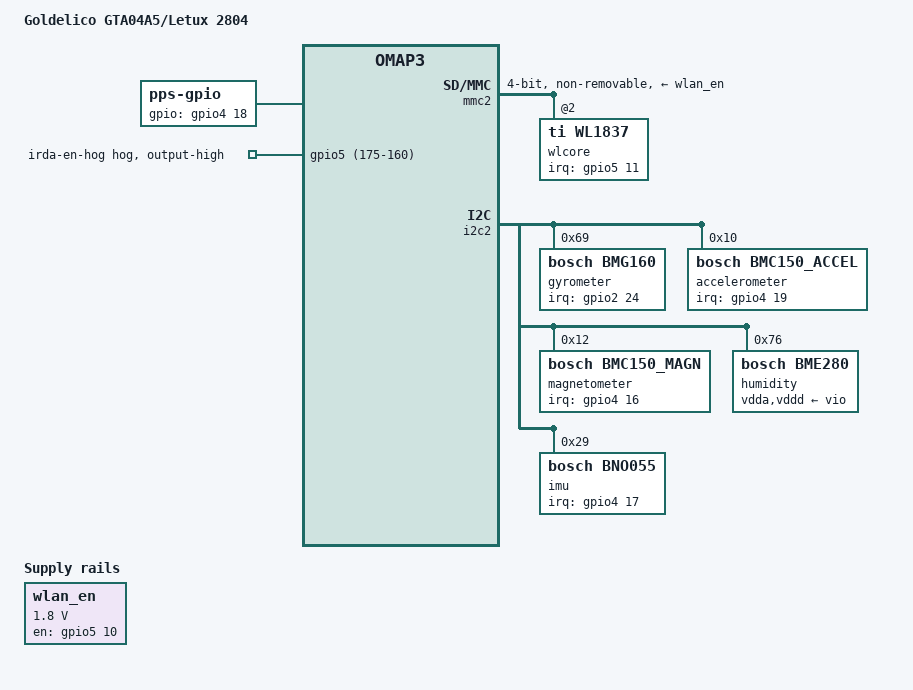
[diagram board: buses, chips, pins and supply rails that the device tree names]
// SPDX-License-Identifier: GPL-2.0-only
/*
 * Copyright (C) 2014-18 H. Nikolaus Schaller <hns@goldelico.com>
 */

#include "omap3-gta04.dtsi"

/ {
	model = "Goldelico GTA04A5/Letux 2804";

	sound {
		ti,jack-det-gpio = <&twl_gpio 2 GPIO_ACTIVE_HIGH>;	/* GTA04A5 only */
	};

	modem_en: modem { /* control modem power through rfkill */
		on-indicator-gpio = <&twl_gpio 6 GPIO_ACTIVE_HIGH>;	/* GTA04A5 only: reset_out feedback from modem */
	};

	wlan_en: wlan_en_regulator {
		compatible = "regulator-fixed";
		pinctrl-names = "default";
		pinctrl-0 = <&wlan_pins>;
		regulator-name = "wlan-en-regulator";
		regulator-min-microvolt = <1800000>;
		regulator-max-microvolt = <1800000>;

		gpio = <&gpio5 10 GPIO_ACTIVE_HIGH>;	/* GPIO_138 */

		startup-delay-us = <70000>;
		enable-active-high;
	};

	pps {
		compatible = "pps-gpio";
		pinctrl-names = "default";
		pinctrl-0 = <&pps_pins>;

		gpios = <&gpio4 18 GPIO_ACTIVE_HIGH>; /* GPIN_114 */
	};

};

&gpio5 {
	irda-en-hog {
		gpio-hog;
		gpios = <(175-160) GPIO_ACTIVE_HIGH>;
		output-high;	/* activate gpio_175 to disable IrDA receiver */
	};
};

#if 0
&twl_power {
	compatible = "ti,twl4030-power-idle-osc-off";
};
#endif

&omap3_pmx_core {
	bt_pins: bt-pins {
		pinctrl-single,pins = <
			OMAP3_CORE1_IOPAD(0x2166, PIN_OUTPUT | MUX_MODE4)	/* mmc2_dat5 = mmc3_dat1 = gpio137 */
		>;
	};

	wlan_pins: wlan-pins {
		pinctrl-single,pins = <
			OMAP3_CORE1_IOPAD(0x2168, PIN_OUTPUT | MUX_MODE4)	/* mmc2_dat6 = mmc3_dat2 = gpio138 */
		>;
	};

	wlan_irq_pin: wlan-irq-pins {
		pinctrl-single,pins = <
			OMAP3_CORE1_IOPAD(0x216a, PIN_INPUT_PULLUP | MUX_MODE4)	/* mmc2_dat7 = mmc3_dat3 = gpio139 */
		>;
	};

	irda_pins: irda-pins {
		pinctrl-single,pins = <
			OMAP3_CORE1_IOPAD(0x21d0, PIN_OUTPUT_PULLUP | MUX_MODE4)	/* mcspi1_cs1 = gpio175 */
		>;
	};

	pps_pins: pps-pins {
		pinctrl-single,pins = <
			OMAP3_CORE1_IOPAD(0x2138, PIN_INPUT | MUX_MODE4) /* gpin114 */
		>;
	};

	bmc150_pins: pinmux_bmc150_pins {
		pinctrl-single,pins = <
			OMAP3_CORE1_IOPAD(0x213a, PIN_INPUT | MUX_MODE4) /* gpin115 */
		>;
	};

	bmc150_magn_pins: pinmux_bmc150_magn_pins {
		pinctrl-single,pins = <
			OMAP3_CORE1_IOPAD(0x2134, PIN_INPUT | MUX_MODE4) /* gpin112 */
		>;
	};

	bmg160_pins: pinmux_bmg160_pins {
		pinctrl-single,pins = <
			OMAP3_CORE1_IOPAD(0x20b8, PIN_INPUT | MUX_MODE4) /* gpio56 */
		>;
	};

	bno050_pins: pinmux-bno050-pins {
		pinctrl-single,pins = <
			OMAP3_CORE1_IOPAD(0x2136, PIN_INPUT | MUX_MODE4) /* gpin113 */
		>;
	};
};

/*
 * for WL183x module see
 * Documentation/devicetree/bindings/net/wireless/ti,wlcore.yaml
 */

&wifi_pwrseq {
	/delete-property/ reset-gpios;
	/delete-property/ power-off-ignore;
};

&mmc2 {
	vmmc-supply = <&wlan_en>;
	bus-width = <4>;
	cap-power-off-card;
	non-removable;

	pinctrl-names = "default";
	pinctrl-0 = <&wlan_irq_pin>;

	#address-cells = <1>;
	#size-cells = <0>;

	/delete-property/ mmc-pwrseq;

	wlcore: wlcore@2 {
		compatible = "ti,wl1837";
		reg = <2>;
		interrupt-parent = <&gpio5>;
		interrupts = <11 IRQ_TYPE_LEVEL_HIGH>;	/* GPIO_139 */
		ref-clock-frequency = <26000000>;
	};
};

&uart1 {
	pinctrl-names = "default";
	pinctrl-0 = <&uart1_pins &bt_pins>;
};

&bluetooth {
	/delete-property/ vdd-supply;
	compatible = "ti,wl1837-st";
	enable-gpios = <&gpio5 9 GPIO_ACTIVE_HIGH>;	/* GPIO_137 */
};

&w2cbw003_codec {
	compatible = "ti,wl1837-codec";
};

&i2c2 {
	/delete-node/ bmp085@77;
	/delete-node/ bma180@41;
	/delete-node/ itg3200@68;
	/delete-node/ hmc5843@1e;

	gyrometer@69 {
		compatible = "bosch,bmg160";
		reg = <0x69>;
		pinctrl-names = "default";
		pinctrl-0 = <&bmg160_pins>;
		interrupt-parent = <&gpio2>;
		interrupts = <24 (IRQ_TYPE_LEVEL_HIGH | IRQ_TYPE_EDGE_RISING)>;	/* gpio_56 */
	};

	accelerometer@10 {
		compatible = "bosch,bmc150_accel";
		reg = <0x10>;
		pinctrl-names = "default";
		pinctrl-0 = <&bmc150_pins>;
		interrupt-parent = <&gpio4>;
		interrupts = <19 (IRQ_TYPE_LEVEL_HIGH | IRQ_TYPE_EDGE_RISING)>;	/* gpin_115 */
	};

	magnetometer@12 {
		compatible = "bosch,bmc150_magn";
		reg = <0x12>;
		pinctrl-names = "default";
		pinctrl-0 = <&bmc150_magn_pins>;
		interrupt-parent = <&gpio4>;
		interrupts = <16 (IRQ_TYPE_LEVEL_HIGH | IRQ_TYPE_EDGE_RISING)>;	/* gpin_112 */
	};

	humidity@76 {
		compatible = "bosch,bme280";
		reg = <0x76>;
		vdda-supply = <&vio>;
		vddd-supply = <&vio>;
	};

	imu@29 {
		compatible = "bosch,bno055";
		reg = <0x29>;
		pinctrl-names = "default";
		pinctrl-0 = <&bno050_pins>;
		interrupt-parent = <&gpio4>;
		interrupts = <17 (IRQ_TYPE_LEVEL_HIGH | IRQ_TYPE_EDGE_RISING)>;	/* gpin_113 */
	};
};
